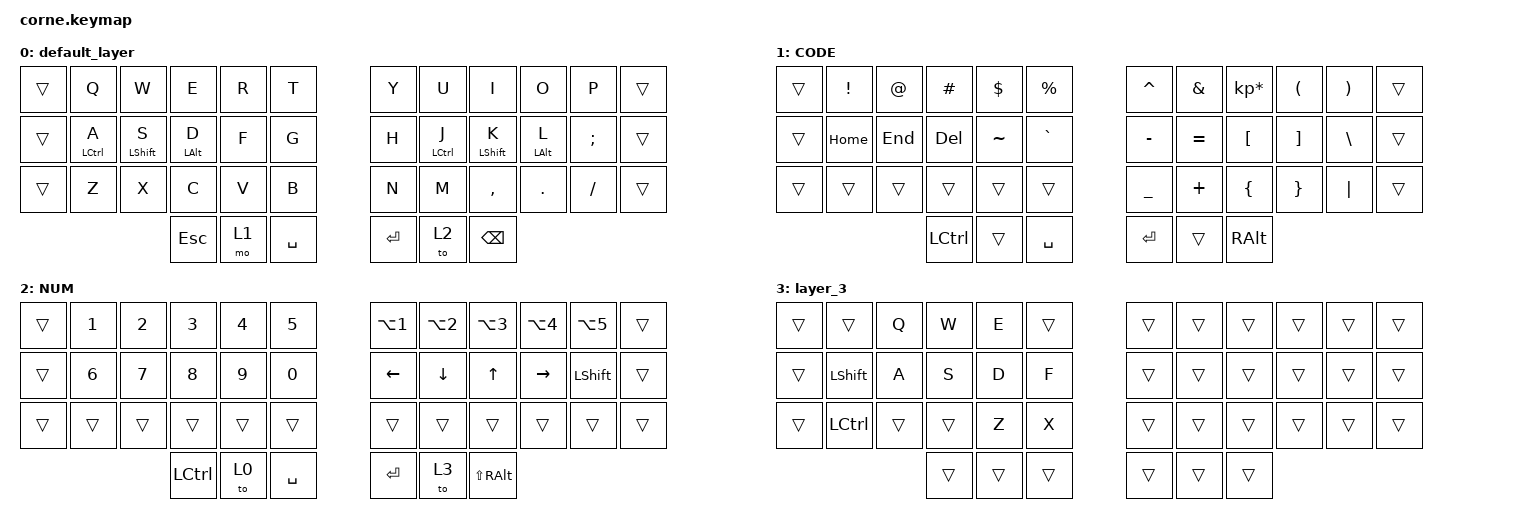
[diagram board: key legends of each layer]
/*
 * Copyright (c) 2020 The ZMK Contributors
 *
 * SPDX-License-Identifier: MIT
 */

#include <behaviors.dtsi>
#include <dt-bindings/zmk/keys.h>

/ {
    keymap {
        compatible = "zmk,keymap";

        default_layer {
            // -----------------------------------------------------------------------------------------
            // |  TAB |  Q  |  W  |  E  |  R  |  T  |   |  Y  |  U   |  I  |  O  |  P  | BKSP |
            // | CTRL |  A  |  S  |  D  |  F  |  G  |   |  H  |  J   |  K  |  L  |  ;  |  '   |
            // | SHFT |  Z  |  X  |  C  |  V  |  B  |   |  N  |  M   |  ,  |  .  |  /  | ESC  |
            //                    | GUI | LWR | SPC |   | ENT | RSE  | ALT |

            bindings = <
&trans  &kp Q        &kp W             &kp E           &kp R  &kp T        &kp Y    &kp U        &kp I             &kp O           &kp P     &trans
&trans  &mt LCTRL A  &mt LEFT_SHIFT S  &mt LEFT_ALT D  &kp F  &kp G        &kp H    &mt LCTRL J  &mt LEFT_SHIFT K  &mt LEFT_ALT L  &kp SEMI  &trans
&trans  &kp Z        &kp X             &kp C           &kp V  &kp B        &kp N    &kp M        &kp COMMA         &kp DOT         &kp FSLH  &trans
                                       &kp ESCAPE      &mo 1  &kp SPACE    &kp RET  &to 2        &kp BACKSPACE
            >;
        };

        CODE {
            // -----------------------------------------------------------------------------------------
            // |  TAB |  !  |  @  |  #  |  $  |  %  |   |  ^  |  &  |  *  |  (  |  )  | BKSP |
            // | CTRL |RGBEFF|RGBTOG|     |     |     |   |  -  |  =  |  [  |  ]  |  \  |  `   |
            // | SHFT |     |     |     |     |     |   |  _  |  +  |  {  |  }  | "|" |  ~   |
            //                    | GUI |     | SPC |   | ENT |     | ALT |

            bindings = <
&trans  &kp EXCL  &kp AT   &kp HASH    &kp DLLR   &kp PRCNT    &kp CARET  &kp AMPS   &kp KP_MULTIPLY  &kp LPAR  &kp RPAR  &trans
&trans  &kp HOME  &kp END  &kp DELETE  &kp TILDE  &kp GRAVE    &kp MINUS  &kp EQUAL  &kp LBKT         &kp RBKT  &kp BSLH  &trans
&trans  &trans    &trans   &trans      &trans     &trans       &kp UNDER  &kp PLUS   &kp LBRC         &kp RBRC  &kp PIPE  &trans
                           &kp LCTRL   &trans     &kp SPACE    &kp RET    &trans     &kp RALT
            >;
        };

        NUM {
            // -----------------------------------------------------------------------------------------
            // |  TAB |  1  |  2  |  3  |  4  |  5  |   |  6  |  7  |  8  |  9  |  0  | BKSP |
            // | BTCLR| BT1 | BT2 | BT3 | BT4 | BT5 |   | LFT | DWN |  UP | RGT |     |      |
            // | SHFT |BTCLR|     |     |     |     |   |     |     |     |     |     |      |
            //                    | GUI |     | SPC |   | ENT |     | ALT |

            bindings = <
&trans  &kp N1  &kp N2  &kp N3     &kp N4  &kp N5       &kp LA(NUMBER_1)  &kp LA(N2)  &kp LA(N3)    &kp LA(N4)  &kp LA(N5)  &trans
&trans  &kp N6  &kp N7  &kp N8     &kp N9  &kp N0       &kp LEFT          &kp DOWN    &kp UP        &kp RIGHT   &kp LSHIFT  &trans
&trans  &trans  &trans  &trans     &trans  &trans       &trans            &trans      &trans        &trans      &trans      &trans
                        &kp LCTRL  &to 0   &kp SPACE    &kp ENTER         &to 3       &kp LS(RALT)
            >;
        };

        layer_3 {
            bindings = <
&trans  &trans     &kp Q   &kp W   &kp E   &trans    &trans  &trans  &trans  &trans  &trans  &trans
&trans  &kp LSHFT  &kp A   &kp S   &kp D   &kp F     &trans  &trans  &trans  &trans  &trans  &trans
&trans  &kp LCTRL  &trans  &trans  &kp Z   &kp X     &trans  &trans  &trans  &trans  &trans  &trans
                           &trans  &trans  &trans    &trans  &trans  &trans
            >;
        };
    };
};
